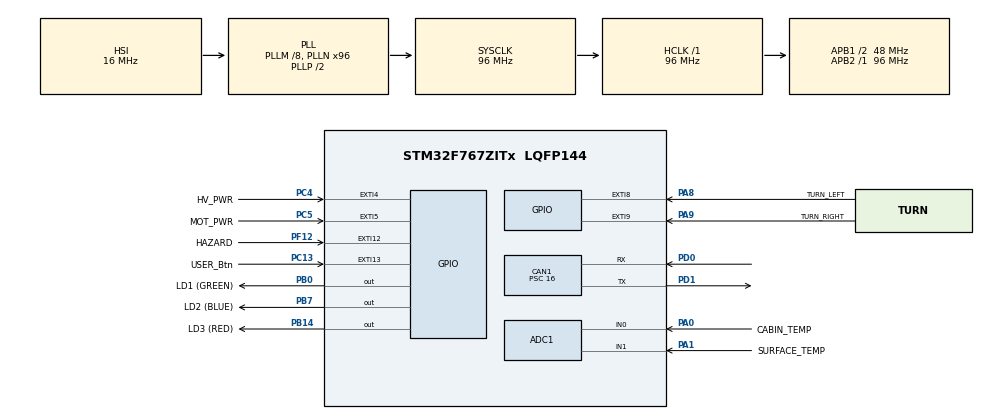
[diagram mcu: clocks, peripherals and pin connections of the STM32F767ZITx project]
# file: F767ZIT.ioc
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ADC1.Channel-0\#ChannelRegularConversion=ADC_CHANNEL_0
ADC1.Channel-1\#ChannelRegularConversion=ADC_CHANNEL_0
ADC1.ContinuousConvMode=ENABLE
ADC1.DMAContinuousRequests=ENABLE
ADC1.NbrOfConversion=2
ADC1.NbrOfConversionFlag=1
ADC1.Rank-0\#ChannelRegularConversion=1
ADC1.Rank-1\#ChannelRegularConversion=2
ADC1.SamplingTime-0\#ChannelRegularConversion=ADC_SAMPLETIME_3CYCLES
ADC1.SamplingTime-1\#ChannelRegularConversion=ADC_SAMPLETIME_3CYCLES
ADC1.master=1
CAN1.BS1=CAN_BS1_2TQ
CAN1.BS2=CAN_BS2_3TQ
CAN1.CalculateBaudRate=500000
CAN1.CalculateTimeBit=2000
CAN1.CalculateTimeQuantum=333.3333333333333
CAN1.Prescaler=16
CORTEX_M7.default_mode_Activation=1
Dma.ADC1.0.Direction=DMA_PERIPH_TO_MEMORY
Dma.ADC1.0.FIFOMode=DMA_FIFOMODE_DISABLE
Dma.ADC1.0.Instance=DMA2_Stream0
Dma.ADC1.0.MemDataAlignment=DMA_MDATAALIGN_HALFWORD
Dma.ADC1.0.MemInc=DMA_MINC_ENABLE
Dma.ADC1.0.Mode=DMA_CIRCULAR
Dma.ADC1.0.PeriphDataAlignment=DMA_PDATAALIGN_HALFWORD
Dma.ADC1.0.PeriphInc=DMA_PINC_DISABLE
Dma.ADC1.0.Priority=DMA_PRIORITY_LOW
Dma.Request0=ADC1
Mcu.Family=STM32F7
Mcu.Name=STM32F767ZITx
Mcu.Package=LQFP144
NVIC.CAN1_RX0_IRQn=true\:0\:0\:false\:false\:true\:true\:true\:true
NVIC.DMA2_Stream0_IRQn=true\:0\:0\:false\:false\:true\:false\:true\:true
NVIC.EXTI4_IRQn=true\:0\:0\:false\:false\:true\:true\:true\:true
NVIC.EXTI9_5_IRQn=true\:0\:0\:false\:false\:true\:true\:true\:true
NVIC.PriorityGroup=NVIC_PRIORITYGROUP_4
NVIC.TIM2_IRQn=true\:0\:0\:false\:false\:true\:true\:true\:true
PA0/WKUP.GPIO_Label=CABIN_TEMP
PA0/WKUP.Signal=ADCx_IN0
PA1.GPIO_Label=SURFACE_TEMP
PA1.Signal=ADCx_IN1
PA8.GPIO_Label=TURN_LEFT
PA8.Signal=GPXTI8
PA9.GPIO_Label=TURN_RIGHT
PA9.Signal=GPXTI9
PB0.GPIO_Label=LD1 (GREEN)
PB0.Signal=GPIO_Output
PB14.GPIO_Label=LD3 (RED)
PB14.Signal=GPIO_Output
PB7.GPIO_Label=LD2 (BLUE)
PB7.Signal=GPIO_Output
PC13.GPIO_Label=USER_Btn
PC13.Signal=GPXTI13
PC4.GPIO_Label=HV_PWR
PC4.GPIO_ModeDefaultEXTI=GPIO_MODE_IT_RISING_FALLING
PC4.Signal=GPXTI4
PC5.GPIO_Label=MOT_PWR
PC5.GPIO_ModeDefaultEXTI=GPIO_MODE_IT_RISING_FALLING
PC5.Signal=GPXTI5
PD0.Mode=CAN_Activate
PD0.Signal=CAN1_RX
PD1.Mode=CAN_Activate
PD1.Signal=CAN1_TX
PF12.GPIO_Label=HAZARD
PF12.Signal=GPXTI12
PH0/OSC_IN.Mode=HSE-External-Oscillator
PH0/OSC_IN.Signal=RCC_OSC_IN
PH1/OSC_OUT.Mode=HSE-External-Oscillator
PH1/OSC_OUT.Signal=RCC_OSC_OUT
ProjectManager.HeapSize=0x200
ProjectManager.StackSize=0x400
ProjectManager.TargetToolchain=STM32CubeIDE
RCC.AHBFreq_Value=96000000
RCC.APB1CLKDivider=RCC_HCLK_DIV2
RCC.APB1Freq_Value=48000000
RCC.APB1TimFreq_Value=96000000
RCC.APB2Freq_Value=96000000
RCC.APB2TimFreq_Value=96000000
RCC.CortexFreq_Value=96000000
RCC.HCLKFreq_Value=96000000
RCC.HSE_VALUE=8000000
RCC.HSI_VALUE=16000000
RCC.LSE_VALUE=32768
RCC.PLLM=8
RCC.PLLN=96
RCC.SYSCLKFreq_VALUE=96000000
RCC.SYSCLKSource=RCC_SYSCLKSOURCE_PLLCLK
RCC.USBFreq_Value=96000000
RCC.VCOOutputFreq_Value=192000000
SH.ADCx_IN0.0=ADC1_IN0,IN0
SH.ADCx_IN1.0=ADC1_IN1,IN1
TIM2.AutoReloadPreload=TIM_AUTORELOAD_PRELOAD_ENABLE
TIM2.Period=4999
VP_TIM2_VS_ClockSourceINT.Mode=Internal
board=custom

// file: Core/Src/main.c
/* USER CODE BEGIN Header */
/**
  ******************************************************************************
  * @file           : main.c
  * @brief          : Main program body
  ******************************************************************************
  * @attention
  *
  * Copyright (c) 2025 STMicroelectronics.
  * All rights reserved.
  *
  * This software is licensed under terms that can be found in the LICENSE file
  * in the root directory of this software component.
  * If no LICENSE file comes with this software, it is provided AS-IS.
  *
  ******************************************************************************
  */
/* USER CODE END Header */
#include "main.h"

ADC_HandleTypeDef hadc1;
DMA_HandleTypeDef hdma_adc1;

CAN_HandleTypeDef hcan1;

TIM_HandleTypeDef htim2;

/* USER CODE BEGIN PV */

state_t vehicle_state;
uint32_t temps[ADC_ARR_LEN];

/* USER CODE END PV */

void SystemClock_Config(void);
static void MPU_Config(void);
static void MX_GPIO_Init(void);
static void MX_DMA_Init(void);
static void MX_ADC1_Init(void);
static void MX_CAN1_Init(void);
static void MX_TIM2_Init(void);

/* USER CODE BEGIN 0 */

void init_vehicle_state(state_t* s) {
    s->left_turn_sig_en = 0;
    s->right_turn_sig_en = 0;
    s->brake_light_en = 0;
    s->hv_pwr_en = 0;
    s->mot_pwr_en = 0;
    s->bms_discharge_en = 0;
    s->hazard_en = 0;

    s->cabin_temp = 0;
    s->surface_temp = 0;
    s->batt_max_temp = 0;
    s->batt_min_temp = 0;
    s->batt_soc = 0;
    s->vehicle_speed = 0;
}

void calculate_state(void){

	// hazards

	vehicle_state.left_turn_sig_en = HAL_GPIO_ReadPin(TURN_LEFT_GPIO_Port, TURN_LEFT_Pin);
	vehicle_state.right_turn_sig_en = HAL_GPIO_ReadPin(TURN_RIGHT_GPIO_Port, TURN_RIGHT_Pin);
// 	vehicle_state.brake_light_en = HAL_GPIO_ReadPin();

	vehicle_state.hv_pwr_en = HAL_GPIO_ReadPin(HV_PWR_GPIO_Port, HV_PWR_Pin);
	vehicle_state.mot_pwr_en = HAL_GPIO_ReadPin(MOT_PWR_GPIO_Port, MOT_PWR_Pin);
	vehicle_state.hazard_en = HAL_GPIO_ReadPin(HAZARD_GPIO_Port, HAZARD_Pin);
//	vehicle_state.bms_discharge_en = 0;

//	vehicle_state.cabin_temp = 0;
//	vehicle_state.surface_temp = 0;
//	vehicle_state.batt_max_temp = 0;
//	vehicle_state.batt_min_temp = 0;
// 	vehicle_state.batt_soc = 0;

//	vehicle_state.vehicle_speed = 0;

}

void encode_payload(uint16_t param_id, uint32_t value, uint8_t* buffer) {
    buffer[0] = (param_id >> 8) & 0xFF;
    buffer[1] = param_id & 0xFF;
    buffer[2] = (value >> 24) & 0xFF;
    buffer[3] = (value >> 16) & 0xFF;
    buffer[4] = (value >> 8) & 0xFF;
    buffer[5] = value & 0xFF;
    buffer[6] = 0x00;
    buffer[7] = 0x00;
}

void update_io(void){

	CAN_TxHeaderTypeDef TxHeader;
	uint8_t TxData[8];
	uint32_t TxMailbox;

	TxHeader.DLC = 2;
	TxHeader.RTR = CAN_RTR_DATA;
	TxHeader.IDE = CAN_ID_STD;

	// hv off -> mot off
	if(vehicle_state.hv_pwr_en == 0){

		vehicle_state.mot_pwr_en = 0;

		encode_payload(2048, vehicle_state.mot_pwr_en, TxData);
		HAL_CAN_AddTxMessage(&hcan1, &TxHeader, TxData, &TxMailbox);

	}

	// turn signals
	// consider not sending when turn is off?
	encode_payload(2049, vehicle_state.left_turn_sig_en, TxData);
	HAL_CAN_AddTxMessage(&hcan1, &TxHeader, TxData, &TxMailbox);

	encode_payload(2050, vehicle_state.right_turn_sig_en, TxData);
	HAL_CAN_AddTxMessage(&hcan1, &TxHeader, TxData, &TxMailbox);

	encode_payload(2050, vehicle_state.hazard_en, TxData);
	HAL_CAN_AddTxMessage(&hcan1, &TxHeader, TxData, &TxMailbox);

}

void HAL_GPIO_EXTI_Callback(uint16_t pin) {
	// no matter what switch is toggled, we will recalcuate the whole state
	calculate_state();
	update_io();
}

void HAL_TIM_PeriodElapsedCallback(TIM_HandleTypeDef *htim)
{
    if (htim->Instance == TIM2)
    {
    	// runs at 500ms period, 2hz frequency, 4pi rad/s angular frequency

    	calculate_state();
    	update_io();

    }
}

/* USER CODE END 0 */

int main(void)
{

  /* MPU Configuration--------------------------------------------------------*/
  MPU_Config();

  /* MCU Configuration--------------------------------------------------------*/

  /* Reset of all peripherals, Initializes the Flash interface and the Systick. */
  HAL_Init();

  /* Configure the system clock */
  SystemClock_Config();

  /* Initialize all configured peripherals */
  MX_GPIO_Init();
  MX_DMA_Init();
  MX_ADC1_Init();
  MX_CAN1_Init();
  MX_TIM2_Init();
  /* USER CODE BEGIN 2 */

  HAL_ADC_Start_DMA(&hadc1, temps, ADC_ARR_LEN);
  HAL_CAN_Start(&hcan1);

  /* USER CODE END 2 */

  /* Infinite loop */
  /* USER CODE BEGIN WHILE */
  while (1)
  {

	  if (vehicle_state.hazard_en == 1) {

		  HAL_GPIO_TogglePin(LD1_GPIO_Port, LD1_Pin);
		  HAL_GPIO_TogglePin(LD2_GPIO_Port, LD2_Pin);
		  HAL_Delay(500);

	  } else if (vehicle_state.left_turn_sig_en) {
		  // left led blinks
		  // ld 1 is green
		  HAL_GPIO_TogglePin(LD1_GPIO_Port, LD1_Pin);
		  HAL_Delay(500);

	  } else if (vehicle_state.right_turn_sig_en) {
		  // right led blinks
		  // ld 2 is blue
		  HAL_GPIO_TogglePin(LD2_GPIO_Port, LD2_Pin);
		  HAL_Delay(500);

	  } else {
		HAL_GPIO_WritePin(LD1_GPIO_Port, LD1_Pin, GPIO_PIN_RESET);
		HAL_GPIO_WritePin(LD2_GPIO_Port, LD2_Pin, GPIO_PIN_RESET);
	  }

	  HAL_Delay(10);

    /* USER CODE END WHILE */

  }
}

void SystemClock_Config(void)
{
  RCC_OscInitTypeDef RCC_OscInitStruct = {0};
  RCC_ClkInitTypeDef RCC_ClkInitStruct = {0};

  /** Configure the main internal regulator output voltage
  */
  __HAL_RCC_PWR_CLK_ENABLE();
  __HAL_PWR_VOLTAGESCALING_CONFIG(PWR_REGULATOR_VOLTAGE_SCALE3);

  /** Initializes the RCC Oscillators according to the specified parameters
  * in the RCC_OscInitTypeDef structure.
  */
  RCC_OscInitStruct.OscillatorType = RCC_OSCILLATORTYPE_HSI;
  RCC_OscInitStruct.HSIState = RCC_HSI_ON;
  RCC_OscInitStruct.HSICalibrationValue = RCC_HSICALIBRATION_DEFAULT;
  RCC_OscInitStruct.PLL.PLLState = RCC_PLL_ON;
  RCC_OscInitStruct.PLL.PLLSource = RCC_PLLSOURCE_HSI;
  RCC_OscInitStruct.PLL.PLLM = 8;
  RCC_OscInitStruct.PLL.PLLN = 96;
  RCC_OscInitStruct.PLL.PLLP = RCC_PLLP_DIV2;
  RCC_OscInitStruct.PLL.PLLQ = 2;
  RCC_OscInitStruct.PLL.PLLR = 2;
  if (HAL_RCC_OscConfig(&RCC_OscInitStruct) != HAL_OK)
  {
    Error_Handler();
  }

  /** Activate the Over-Drive mode
  */
  if (HAL_PWREx_EnableOverDrive() != HAL_OK)
  {
    Error_Handler();
  }

  /** Initializes the CPU, AHB and APB buses clocks
  */
  RCC_ClkInitStruct.ClockType = RCC_CLOCKTYPE_HCLK|RCC_CLOCKTYPE_SYSCLK
                              |RCC_CLOCKTYPE_PCLK1|RCC_CLOCKTYPE_PCLK2;
  RCC_ClkInitStruct.SYSCLKSource = RCC_SYSCLKSOURCE_PLLCLK;
  RCC_ClkInitStruct.AHBCLKDivider = RCC_SYSCLK_DIV1;
  RCC_ClkInitStruct.APB1CLKDivider = RCC_HCLK_DIV2;
  RCC_ClkInitStruct.APB2CLKDivider = RCC_HCLK_DIV1;

  if (HAL_RCC_ClockConfig(&RCC_ClkInitStruct, FLASH_LATENCY_3) != HAL_OK)
  {
    Error_Handler();
  }
}

static void MX_ADC1_Init(void)
{

  ADC_ChannelConfTypeDef sConfig = {0};

  /** Configure the global features of the ADC (Clock, Resolution, Data Alignment and number of conversion)
  */
  hadc1.Instance = ADC1;
  hadc1.Init.ClockPrescaler = ADC_CLOCK_SYNC_PCLK_DIV4;
  hadc1.Init.Resolution = ADC_RESOLUTION_12B;
  hadc1.Init.ScanConvMode = ADC_SCAN_ENABLE;
  hadc1.Init.ContinuousConvMode = ENABLE;
  hadc1.Init.DiscontinuousConvMode = DISABLE;
  hadc1.Init.ExternalTrigConvEdge = ADC_EXTERNALTRIGCONVEDGE_NONE;
  hadc1.Init.ExternalTrigConv = ADC_SOFTWARE_START;
  hadc1.Init.DataAlign = ADC_DATAALIGN_RIGHT;
  hadc1.Init.NbrOfConversion = 2;
  hadc1.Init.DMAContinuousRequests = ENABLE;
  hadc1.Init.EOCSelection = ADC_EOC_SINGLE_CONV;
  if (HAL_ADC_Init(&hadc1) != HAL_OK)
  {
    Error_Handler();
  }

  /** Configure for the selected ADC regular channel its corresponding rank in the sequencer and its sample time.
  */
  sConfig.Channel = ADC_CHANNEL_0;
  sConfig.Rank = ADC_REGULAR_RANK_1;
  sConfig.SamplingTime = ADC_SAMPLETIME_3CYCLES;
  if (HAL_ADC_ConfigChannel(&hadc1, &sConfig) != HAL_OK)
  {
    Error_Handler();
  }

  /** Configure for the selected ADC regular channel its corresponding rank in the sequencer and its sample time.
  */
  sConfig.Rank = ADC_REGULAR_RANK_2;
  if (HAL_ADC_ConfigChannel(&hadc1, &sConfig) != HAL_OK)
  {
    Error_Handler();
  }

}

static void MX_CAN1_Init(void)
{

  hcan1.Instance = CAN1;
  hcan1.Init.Prescaler = 16;
  hcan1.Init.Mode = CAN_MODE_NORMAL;
  hcan1.Init.SyncJumpWidth = CAN_SJW_1TQ;
  hcan1.Init.TimeSeg1 = CAN_BS1_2TQ;
  hcan1.Init.TimeSeg2 = CAN_BS2_3TQ;
  hcan1.Init.TimeTriggeredMode = DISABLE;
  hcan1.Init.AutoBusOff = DISABLE;
  hcan1.Init.AutoWakeUp = DISABLE;
  hcan1.Init.AutoRetransmission = DISABLE;
  hcan1.Init.ReceiveFifoLocked = DISABLE;
  hcan1.Init.TransmitFifoPriority = DISABLE;
  if (HAL_CAN_Init(&hcan1) != HAL_OK)
  {
    Error_Handler();
  }

}

static void MX_TIM2_Init(void)
{

  TIM_ClockConfigTypeDef sClockSourceConfig = {0};
  TIM_MasterConfigTypeDef sMasterConfig = {0};

  htim2.Instance = TIM2;
  htim2.Init.Prescaler = 0;
  htim2.Init.CounterMode = TIM_COUNTERMODE_UP;
  htim2.Init.Period = 4999;
  htim2.Init.ClockDivision = TIM_CLOCKDIVISION_DIV1;
  htim2.Init.AutoReloadPreload = TIM_AUTORELOAD_PRELOAD_ENABLE;
  if (HAL_TIM_Base_Init(&htim2) != HAL_OK)
  {
    Error_Handler();
  }
  sClockSourceConfig.ClockSource = TIM_CLOCKSOURCE_INTERNAL;
  if (HAL_TIM_ConfigClockSource(&htim2, &sClockSourceConfig) != HAL_OK)
  {
    Error_Handler();
  }
  sMasterConfig.MasterOutputTrigger = TIM_TRGO_RESET;
  sMasterConfig.MasterSlaveMode = TIM_MASTERSLAVEMODE_DISABLE;
  if (HAL_TIMEx_MasterConfigSynchronization(&htim2, &sMasterConfig) != HAL_OK)
  {
    Error_Handler();
  }

}

static void MX_DMA_Init(void)
{

  /* DMA controller clock enable */
  __HAL_RCC_DMA2_CLK_ENABLE();

  /* DMA interrupt init */
  /* DMA2_Stream0_IRQn interrupt configuration */
  HAL_NVIC_SetPriority(DMA2_Stream0_IRQn, 0, 0);
  HAL_NVIC_EnableIRQ(DMA2_Stream0_IRQn);

}

static void MX_GPIO_Init(void)
{
  GPIO_InitTypeDef GPIO_InitStruct = {0};

  /* GPIO Ports Clock Enable */
  __HAL_RCC_GPIOC_CLK_ENABLE();
  __HAL_RCC_GPIOH_CLK_ENABLE();
  __HAL_RCC_GPIOA_CLK_ENABLE();
  __HAL_RCC_GPIOB_CLK_ENABLE();
  __HAL_RCC_GPIOF_CLK_ENABLE();
  __HAL_RCC_GPIOD_CLK_ENABLE();

  /*Configure GPIO pin Output Level */
  HAL_GPIO_WritePin(GPIOB, LD1_Pin|LD3_Pin|LD2_Pin, GPIO_PIN_RESET);

  /*Configure GPIO pin : USER_Btn_Pin */
  GPIO_InitStruct.Pin = USER_Btn_Pin;
  GPIO_InitStruct.Mode = GPIO_MODE_IT_RISING;
  GPIO_InitStruct.Pull = GPIO_NOPULL;
  HAL_GPIO_Init(USER_Btn_GPIO_Port, &GPIO_InitStruct);

  /*Configure GPIO pins : HV_PWR_Pin MOT_PWR_Pin */
  GPIO_InitStruct.Pin = HV_PWR_Pin|MOT_PWR_Pin;
  GPIO_InitStruct.Mode = GPIO_MODE_IT_RISING_FALLING;
  GPIO_InitStruct.Pull = GPIO_NOPULL;
  HAL_GPIO_Init(GPIOC, &GPIO_InitStruct);

  /*Configure GPIO pins : LD1_Pin LD3_Pin LD2_Pin */
  GPIO_InitStruct.Pin = LD1_Pin|LD3_Pin|LD2_Pin;
  GPIO_InitStruct.Mode = GPIO_MODE_OUTPUT_PP;
  GPIO_InitStruct.Pull = GPIO_NOPULL;
  GPIO_InitStruct.Speed = GPIO_SPEED_FREQ_LOW;
  HAL_GPIO_Init(GPIOB, &GPIO_InitStruct);

  /*Configure GPIO pin : HAZARD_Pin */
  GPIO_InitStruct.Pin = HAZARD_Pin;
  GPIO_InitStruct.Mode = GPIO_MODE_IT_RISING;
  GPIO_InitStruct.Pull = GPIO_NOPULL;
  HAL_GPIO_Init(HAZARD_GPIO_Port, &GPIO_InitStruct);

  /*Configure GPIO pins : TURN_LEFT_Pin TURN_RIGHT_Pin */
  GPIO_InitStruct.Pin = TURN_LEFT_Pin|TURN_RIGHT_Pin;
  GPIO_InitStruct.Mode = GPIO_MODE_IT_RISING;
  GPIO_InitStruct.Pull = GPIO_NOPULL;
  HAL_GPIO_Init(GPIOA, &GPIO_InitStruct);

  /* EXTI interrupt init*/
  HAL_NVIC_SetPriority(EXTI4_IRQn, 0, 0);
  HAL_NVIC_EnableIRQ(EXTI4_IRQn);

  HAL_NVIC_SetPriority(EXTI9_5_IRQn, 0, 0);
  HAL_NVIC_EnableIRQ(EXTI9_5_IRQn);

}

 /* MPU Configuration */

void MPU_Config(void)
{
  MPU_Region_InitTypeDef MPU_InitStruct = {0};

  /* Disables the MPU */
  HAL_MPU_Disable();

  /** Initializes and configures the Region and the memory to be protected
  */
  MPU_InitStruct.Enable = MPU_REGION_ENABLE;
  MPU_InitStruct.Number = MPU_REGION_NUMBER0;
  MPU_InitStruct.BaseAddress = 0x0;
  MPU_InitStruct.Size = MPU_REGION_SIZE_4GB;
  MPU_InitStruct.SubRegionDisable = 0x87;
  MPU_InitStruct.TypeExtField = MPU_TEX_LEVEL0;
  MPU_InitStruct.AccessPermission = MPU_REGION_NO_ACCESS;
  MPU_InitStruct.DisableExec = MPU_INSTRUCTION_ACCESS_DISABLE;
  MPU_InitStruct.IsShareable = MPU_ACCESS_SHAREABLE;
  MPU_InitStruct.IsCacheable = MPU_ACCESS_NOT_CACHEABLE;
  MPU_InitStruct.IsBufferable = MPU_ACCESS_NOT_BUFFERABLE;

  HAL_MPU_ConfigRegion(&MPU_InitStruct);
  /* Enables the MPU */
  HAL_MPU_Enable(MPU_PRIVILEGED_DEFAULT);

}

void Error_Handler(void)
{
  __disable_irq();
  while (1)
  {
  }
}
